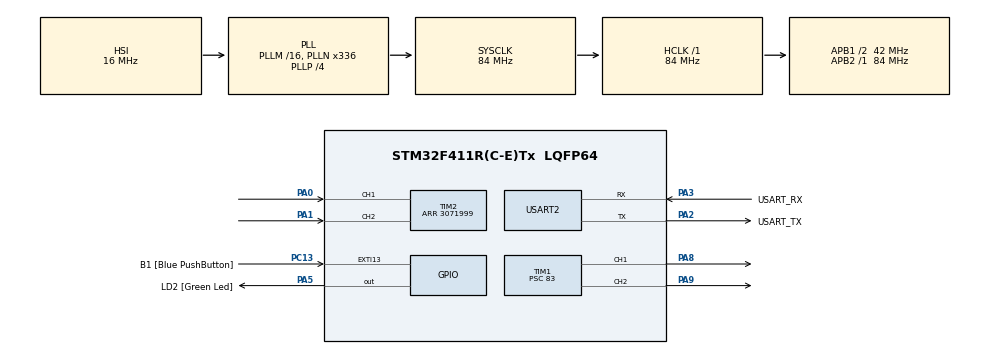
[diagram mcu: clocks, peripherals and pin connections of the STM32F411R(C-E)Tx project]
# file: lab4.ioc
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ARM.CMSIS.5.6.0.CMSISJjCORE=true
ARM.CMSIS.5.6.0.CMSISJjDSP=Library
Mcu.Family=STM32F4
Mcu.Name=STM32F411R(C-E)Tx
Mcu.Package=LQFP64
NVIC.PriorityGroup=NVIC_PRIORITYGROUP_0
PA0-WKUP.Signal=S_TIM2_CH1_ETR
PA1.Signal=S_TIM2_CH2
PA13.GPIO_Label=TMS
PA13.Mode=Serial_Wire
PA13.Signal=SYS_JTMS-SWDIO
PA14.GPIO_Label=TCK
PA14.Mode=Serial_Wire
PA14.Signal=SYS_JTCK-SWCLK
PA2.GPIO_Label=USART_TX
PA2.Mode=Asynchronous
PA2.Signal=USART2_TX
PA3.GPIO_Label=USART_RX
PA3.Mode=Asynchronous
PA3.Signal=USART2_RX
PA5.GPIO_Label=LD2 [Green Led]
PA5.Signal=GPIO_Output
PA8.Signal=S_TIM1_CH1
PA9.Signal=S_TIM1_CH2
PB3.GPIO_Label=SWO
PB3.Signal=SYS_JTDO-SWO
PC13-ANTI_TAMP.GPIO_Label=B1 [Blue PushButton]
PC13-ANTI_TAMP.GPIO_ModeDefaultEXTI=GPIO_MODE_IT_FALLING
PC13-ANTI_TAMP.Signal=GPXTI13
PC14-OSC32_IN.Mode=LSE-External-Oscillator
PC14-OSC32_IN.Signal=RCC_OSC32_IN
PC15-OSC32_OUT.Mode=LSE-External-Oscillator
PC15-OSC32_OUT.Signal=RCC_OSC32_OUT
PH0\ -\ OSC_IN.Mode=HSE-External-Clock-Source
PH0\ -\ OSC_IN.Signal=RCC_OSC_IN
PH1\ -\ OSC_OUT.Mode=HSE-External-Clock-Source
PH1\ -\ OSC_OUT.Signal=RCC_OSC_OUT
ProjectManager.HeapSize=0x200
ProjectManager.StackSize=0x400
ProjectManager.TargetToolchain=STM32CubeIDE
RCC.48MHZClocksFreq_Value=84000000
RCC.AHBFreq_Value=84000000
RCC.APB1CLKDivider=RCC_HCLK_DIV2
RCC.APB1Freq_Value=42000000
RCC.APB1TimFreq_Value=84000000
RCC.APB2Freq_Value=84000000
RCC.APB2TimFreq_Value=84000000
RCC.CortexFreq_Value=84000000
RCC.FLatency-AdvancedSettings=FLASH_LATENCY_2
RCC.HCLKFreq_Value=84000000
RCC.HSE_VALUE=8000000
RCC.HSI_VALUE=16000000
RCC.PLLN=336
RCC.PLLP=RCC_PLLP_DIV4
RCC.SYSCLKFreq_VALUE=84000000
RCC.SYSCLKSource=RCC_SYSCLKSOURCE_PLLCLK
RCC.VCOOutputFreq_Value=336000000
SH.S_TIM1_CH1.0=TIM1_CH1,PWM Generation1 CH1
SH.S_TIM1_CH2.0=TIM1_CH2,PWM Generation2 CH2
SH.S_TIM2_CH1_ETR.0=TIM2_CH1,Encoder_Interface
SH.S_TIM2_CH2.0=TIM2_CH2,Encoder_Interface
TIM1.Channel-PWM\ Generation1\ CH1=TIM_CHANNEL_1
TIM1.Channel-PWM\ Generation2\ CH2=TIM_CHANNEL_2
TIM1.Period=999
TIM1.Prescaler=83
TIM2.EncoderMode=TIM_ENCODERMODE_TI12
TIM2.Period=3071999
USART2.VirtualMode=VM_ASYNC
VP_ARM.CMSIS_VS_CMSISJjCORE_5.3.0_5.6.0.Mode=CMSISJjCORE
VP_ARM.CMSIS_VS_CMSISJjDSP_1.7.0_5.6.0.Mode=CMSISJjDSP
VP_TIM1_VS_ClockSourceINT.Mode=Internal
board=NUCLEO-F411RE

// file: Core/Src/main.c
/* USER CODE BEGIN Header */
/**
  ******************************************************************************
  * @file           : main.c
  * @brief          : Main program body
  ******************************************************************************
  * @attention
  *
  * Copyright (c) 2023 STMicroelectronics.
  * All rights reserved.
  *
  * This software is licensed under terms that can be found in the LICENSE file
  * in the root directory of this software component.
  * If no LICENSE file comes with this software, it is provided AS-IS.
  *
  ******************************************************************************
  */
/* USER CODE END Header */
#include "main.h"
#include "arm_math.h"
#include <stdbool.h>

TIM_HandleTypeDef htim1;
TIM_HandleTypeDef htim2;

UART_HandleTypeDef huart2;

/* USER CODE BEGIN PV */

uint32_t QEIReadRaw;
float QEIPosition;

uint32_t duty = 0;
uint32_t duty2 = 0;
float MotorSetDuty;
float MotorSetDuty2;

arm_pid_instance_f32 PID = {0};
float position = 0;
float setposition = 0;
float Vfeedback = 0;

float error = 0;
/* USER CODE END PV */

void SystemClock_Config(void);
static void MX_GPIO_Init(void);
static void MX_USART2_UART_Init(void);
static void MX_TIM2_Init(void);
static void MX_TIM1_Init(void);
/* USER CODE BEGIN PFP */

float setpid();

/* USER CODE END PFP */

int main(void)
{

  /* MCU Configuration--------------------------------------------------------*/

  /* Reset of all peripherals, Initializes the Flash interface and the Systick. */
  HAL_Init();

  /* Configure the system clock */
  SystemClock_Config();

  /* Initialize all configured peripherals */
  MX_GPIO_Init();
  MX_USART2_UART_Init();
  MX_TIM2_Init();
  MX_TIM1_Init();
  /* USER CODE BEGIN 2 */

  HAL_TIM_Encoder_Start(&htim2, TIM_CHANNEL_1 | TIM_CHANNEL_2);
  HAL_TIM_PWM_Start(&htim1,TIM_CHANNEL_1);
  HAL_TIM_PWM_Start(&htim1,TIM_CHANNEL_2);

  PID.Kp = 0.55;
  PID.Ki = 0.01;
  PID.Kd = 0.5;
  arm_pid_init_f32(&PID,0);

  /* USER CODE END 2 */

  /* Infinite loop */
  while (1)
  {

    /* USER CODE BEGIN 3 */

	  static uint32_t timestamp = 0;
	  if(HAL_GetTick()>timestamp)
	  {
		  timestamp = HAL_GetTick() + 500;
		  QEIReadRaw = __HAL_TIM_GET_COUNTER(&htim2);
		  QEIPosition = QEIReadRaw / 3072.0 * 360;
	  }

	  static uint32_t timestamp2 = 0;
	  if(timestamp2 < HAL_GetTick())
	  {
		  timestamp2 = HAL_GetTick() + 10;

		  Vfeedback = arm_pid_f32(&PID,setposition - position);
		  position = QEIPosition;

	  }

	  error = setposition - QEIPosition;

	  if(error > 0)
	  {
		  MotorSetDuty2 = 0;
		  MotorSetDuty = Vfeedback;
		 duty = 10 * MotorSetDuty;
		 duty2 = 10 * MotorSetDuty2;
		 __HAL_TIM_SET_COMPARE(&htim1, TIM_CHANNEL_1, duty);
		 __HAL_TIM_SET_COMPARE(&htim1, TIM_CHANNEL_2, duty2);

	  }
	  else if(error < 0)
	  {
		  MotorSetDuty = 0;
		  MotorSetDuty2 = Vfeedback * -1;
		 duty = 10 * MotorSetDuty;
		 duty2 = 10 * MotorSetDuty2;
		 __HAL_TIM_SET_COMPARE(&htim1, TIM_CHANNEL_1, duty);
		 __HAL_TIM_SET_COMPARE(&htim1, TIM_CHANNEL_2, duty2);
	  }

  }
  /* USER CODE END 3 */
}

void SystemClock_Config(void)
{
  RCC_OscInitTypeDef RCC_OscInitStruct = {0};
  RCC_ClkInitTypeDef RCC_ClkInitStruct = {0};

  /** Configure the main internal regulator output voltage
  */
  __HAL_RCC_PWR_CLK_ENABLE();
  __HAL_PWR_VOLTAGESCALING_CONFIG(PWR_REGULATOR_VOLTAGE_SCALE1);

  /** Initializes the RCC Oscillators according to the specified parameters
  * in the RCC_OscInitTypeDef structure.
  */
  RCC_OscInitStruct.OscillatorType = RCC_OSCILLATORTYPE_HSI;
  RCC_OscInitStruct.HSIState = RCC_HSI_ON;
  RCC_OscInitStruct.HSICalibrationValue = RCC_HSICALIBRATION_DEFAULT;
  RCC_OscInitStruct.PLL.PLLState = RCC_PLL_ON;
  RCC_OscInitStruct.PLL.PLLSource = RCC_PLLSOURCE_HSI;
  RCC_OscInitStruct.PLL.PLLM = 16;
  RCC_OscInitStruct.PLL.PLLN = 336;
  RCC_OscInitStruct.PLL.PLLP = RCC_PLLP_DIV4;
  RCC_OscInitStruct.PLL.PLLQ = 4;
  if (HAL_RCC_OscConfig(&RCC_OscInitStruct) != HAL_OK)
  {
    Error_Handler();
  }

  /** Initializes the CPU, AHB and APB buses clocks
  */
  RCC_ClkInitStruct.ClockType = RCC_CLOCKTYPE_HCLK|RCC_CLOCKTYPE_SYSCLK
                              |RCC_CLOCKTYPE_PCLK1|RCC_CLOCKTYPE_PCLK2;
  RCC_ClkInitStruct.SYSCLKSource = RCC_SYSCLKSOURCE_PLLCLK;
  RCC_ClkInitStruct.AHBCLKDivider = RCC_SYSCLK_DIV1;
  RCC_ClkInitStruct.APB1CLKDivider = RCC_HCLK_DIV2;
  RCC_ClkInitStruct.APB2CLKDivider = RCC_HCLK_DIV1;

  if (HAL_RCC_ClockConfig(&RCC_ClkInitStruct, FLASH_LATENCY_2) != HAL_OK)
  {
    Error_Handler();
  }
}

static void MX_TIM1_Init(void)
{

  TIM_ClockConfigTypeDef sClockSourceConfig = {0};
  TIM_MasterConfigTypeDef sMasterConfig = {0};
  TIM_OC_InitTypeDef sConfigOC = {0};
  TIM_BreakDeadTimeConfigTypeDef sBreakDeadTimeConfig = {0};

  htim1.Instance = TIM1;
  htim1.Init.Prescaler = 83;
  htim1.Init.CounterMode = TIM_COUNTERMODE_UP;
  htim1.Init.Period = 999;
  htim1.Init.ClockDivision = TIM_CLOCKDIVISION_DIV1;
  htim1.Init.RepetitionCounter = 0;
  htim1.Init.AutoReloadPreload = TIM_AUTORELOAD_PRELOAD_DISABLE;
  if (HAL_TIM_Base_Init(&htim1) != HAL_OK)
  {
    Error_Handler();
  }
  sClockSourceConfig.ClockSource = TIM_CLOCKSOURCE_INTERNAL;
  if (HAL_TIM_ConfigClockSource(&htim1, &sClockSourceConfig) != HAL_OK)
  {
    Error_Handler();
  }
  if (HAL_TIM_PWM_Init(&htim1) != HAL_OK)
  {
    Error_Handler();
  }
  sMasterConfig.MasterOutputTrigger = TIM_TRGO_RESET;
  sMasterConfig.MasterSlaveMode = TIM_MASTERSLAVEMODE_DISABLE;
  if (HAL_TIMEx_MasterConfigSynchronization(&htim1, &sMasterConfig) != HAL_OK)
  {
    Error_Handler();
  }
  sConfigOC.OCMode = TIM_OCMODE_PWM1;
  sConfigOC.Pulse = 0;
  sConfigOC.OCPolarity = TIM_OCPOLARITY_HIGH;
  sConfigOC.OCNPolarity = TIM_OCNPOLARITY_HIGH;
  sConfigOC.OCFastMode = TIM_OCFAST_DISABLE;
  sConfigOC.OCIdleState = TIM_OCIDLESTATE_RESET;
  sConfigOC.OCNIdleState = TIM_OCNIDLESTATE_RESET;
  if (HAL_TIM_PWM_ConfigChannel(&htim1, &sConfigOC, TIM_CHANNEL_1) != HAL_OK)
  {
    Error_Handler();
  }
  if (HAL_TIM_PWM_ConfigChannel(&htim1, &sConfigOC, TIM_CHANNEL_2) != HAL_OK)
  {
    Error_Handler();
  }
  sBreakDeadTimeConfig.OffStateRunMode = TIM_OSSR_DISABLE;
  sBreakDeadTimeConfig.OffStateIDLEMode = TIM_OSSI_DISABLE;
  sBreakDeadTimeConfig.LockLevel = TIM_LOCKLEVEL_OFF;
  sBreakDeadTimeConfig.DeadTime = 0;
  sBreakDeadTimeConfig.BreakState = TIM_BREAK_DISABLE;
  sBreakDeadTimeConfig.BreakPolarity = TIM_BREAKPOLARITY_HIGH;
  sBreakDeadTimeConfig.AutomaticOutput = TIM_AUTOMATICOUTPUT_DISABLE;
  if (HAL_TIMEx_ConfigBreakDeadTime(&htim1, &sBreakDeadTimeConfig) != HAL_OK)
  {
    Error_Handler();
  }
  HAL_TIM_MspPostInit(&htim1);

}

static void MX_TIM2_Init(void)
{

  TIM_Encoder_InitTypeDef sConfig = {0};
  TIM_MasterConfigTypeDef sMasterConfig = {0};

  htim2.Instance = TIM2;
  htim2.Init.Prescaler = 0;
  htim2.Init.CounterMode = TIM_COUNTERMODE_UP;
  htim2.Init.Period = 3071999;
  htim2.Init.ClockDivision = TIM_CLOCKDIVISION_DIV1;
  htim2.Init.AutoReloadPreload = TIM_AUTORELOAD_PRELOAD_DISABLE;
  sConfig.EncoderMode = TIM_ENCODERMODE_TI12;
  sConfig.IC1Polarity = TIM_ICPOLARITY_RISING;
  sConfig.IC1Selection = TIM_ICSELECTION_DIRECTTI;
  sConfig.IC1Prescaler = TIM_ICPSC_DIV1;
  sConfig.IC1Filter = 0;
  sConfig.IC2Polarity = TIM_ICPOLARITY_RISING;
  sConfig.IC2Selection = TIM_ICSELECTION_DIRECTTI;
  sConfig.IC2Prescaler = TIM_ICPSC_DIV1;
  sConfig.IC2Filter = 0;
  if (HAL_TIM_Encoder_Init(&htim2, &sConfig) != HAL_OK)
  {
    Error_Handler();
  }
  sMasterConfig.MasterOutputTrigger = TIM_TRGO_RESET;
  sMasterConfig.MasterSlaveMode = TIM_MASTERSLAVEMODE_DISABLE;
  if (HAL_TIMEx_MasterConfigSynchronization(&htim2, &sMasterConfig) != HAL_OK)
  {
    Error_Handler();
  }

}

static void MX_USART2_UART_Init(void)
{

  huart2.Instance = USART2;
  huart2.Init.BaudRate = 115200;
  huart2.Init.WordLength = UART_WORDLENGTH_8B;
  huart2.Init.StopBits = UART_STOPBITS_1;
  huart2.Init.Parity = UART_PARITY_NONE;
  huart2.Init.Mode = UART_MODE_TX_RX;
  huart2.Init.HwFlowCtl = UART_HWCONTROL_NONE;
  huart2.Init.OverSampling = UART_OVERSAMPLING_16;
  if (HAL_UART_Init(&huart2) != HAL_OK)
  {
    Error_Handler();
  }

}

static void MX_GPIO_Init(void)
{
  GPIO_InitTypeDef GPIO_InitStruct = {0};

  /* GPIO Ports Clock Enable */
  __HAL_RCC_GPIOC_CLK_ENABLE();
  __HAL_RCC_GPIOH_CLK_ENABLE();
  __HAL_RCC_GPIOA_CLK_ENABLE();
  __HAL_RCC_GPIOB_CLK_ENABLE();

  /*Configure GPIO pin Output Level */
  HAL_GPIO_WritePin(LD2_GPIO_Port, LD2_Pin, GPIO_PIN_RESET);

  /*Configure GPIO pin : B1_Pin */
  GPIO_InitStruct.Pin = B1_Pin;
  GPIO_InitStruct.Mode = GPIO_MODE_IT_FALLING;
  GPIO_InitStruct.Pull = GPIO_NOPULL;
  HAL_GPIO_Init(B1_GPIO_Port, &GPIO_InitStruct);

  /*Configure GPIO pin : LD2_Pin */
  GPIO_InitStruct.Pin = LD2_Pin;
  GPIO_InitStruct.Mode = GPIO_MODE_OUTPUT_PP;
  GPIO_InitStruct.Pull = GPIO_NOPULL;
  GPIO_InitStruct.Speed = GPIO_SPEED_FREQ_LOW;
  HAL_GPIO_Init(LD2_GPIO_Port, &GPIO_InitStruct);

}

/* USER CODE BEGIN 4 */

int _write(int file,char *ptr,int len)
{
	int i;

	for(i = 0; i<len; i++)
	{
		ITM_SendChar(*ptr++);
	}
	return len;
}

/* USER CODE END 4 */

void Error_Handler(void)
{
  __disable_irq();
  while (1)
  {
  }
}
